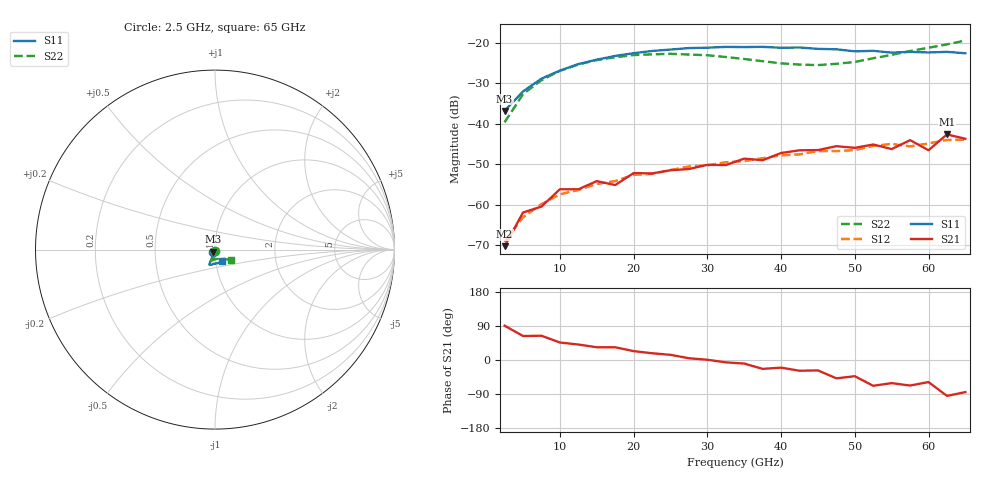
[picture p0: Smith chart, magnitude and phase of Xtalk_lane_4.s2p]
! File created by SignalIntegrity v1.5.1: Signal and Power Integrity Tools
! https://github.com/Nubis-Communications/SignalIntegrity
# MHz S MA R 50.0
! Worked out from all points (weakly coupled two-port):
!   26 points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, 2.5 GHz to 65 GHz, reference 50 ohm
!   highest |S21| = -42.64 dB at 62.5 GHz (marker M1); lowest = -70.3 dB at 2.5 GHz (marker M2)
!   lowest |S11| = -36.8 dB at 2.5 GHz (marker M3), VSWR 1.03, Z = 49.1 - j1.15 ohm
!   |S11| at or under -10 dB: start of sweep to end of sweep
!   |S22| runs from -39.6 to -19.4 dB; largest |S21 - S12| = 0.0022
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2500  0.01445 -126.2  0.0003058 90.5  0.0003467 72.7  0.01044 -89.5
5000  0.02513 -112.2  0.0007982 63.3  0.0006973 66.0  0.0233 -92.6
7500  0.03614 -111.0  0.0009448 64.1  0.001013 61.4  0.0346 -96.0
10000  0.04549 -109.3  0.001548 46.2  0.00134 51.2  0.04508 -99.5
12500  0.05473 -110.4  0.001546 40.8  0.001514 42.6  0.05403 -102.3
15000  0.06208 -110.3  0.001951 33.6  0.001802 38.2  0.06135 -105.4
17500  0.06909 -111.2  0.001743 33.6  0.001953 34.1  0.06654 -107.2
20000  0.07463 -111.0  0.002452 23.4  0.002336 27.6  0.07078 -109.3
25000  0.08279 -111.1  0.002657 13.7  0.002679 12.8  0.07331 -111.0
32500  0.08931 -110.3  0.00308 -6.2  0.003341 -4.0  0.06695 -108.7
35000  0.08888 -108.7  0.003704 -9.4  0.003448 -9.3  0.06328 -105.4
37500  0.08941 -108.0  0.003538 -23.4  0.00375 -16.3  0.05942 -101.1
40000  0.08712 -105.4  0.004346 -20.2  0.004064 -22.7  0.0559 -94.4
45000  0.0844 -101.0  0.004722 -27.5  0.004589 -37.4  0.05319 -77.4
47500  0.08336 -98.7  0.005277 -48.4  0.004584 -39.1  0.05518 -67.7
50000  0.07866 -96.0  0.005037 -42.8  0.004722 -52.8  0.05807 -59.3
52500  0.07985 -90.5  0.005537 -68.1  0.005321 -57.0  0.06461 -51.6
55000  0.07583 -85.0  0.004862 -61.0  0.005625 -62.4  0.07111 -46.6
57500  0.07752 -79.1  0.006268 -67.4  0.005245 -66.7  0.07943 -41.8
60000  0.07619 -75.3  0.004703 -58.2  0.005717 -79.8  0.08704 -39.4
62500  0.07753 -65.9  0.007379 -94.7  0.006306 -86.5  0.09592 -35.9
65000  0.07449 -59.7  0.006514 -84.7  0.006364 -91.5  0.1073 -34.3
